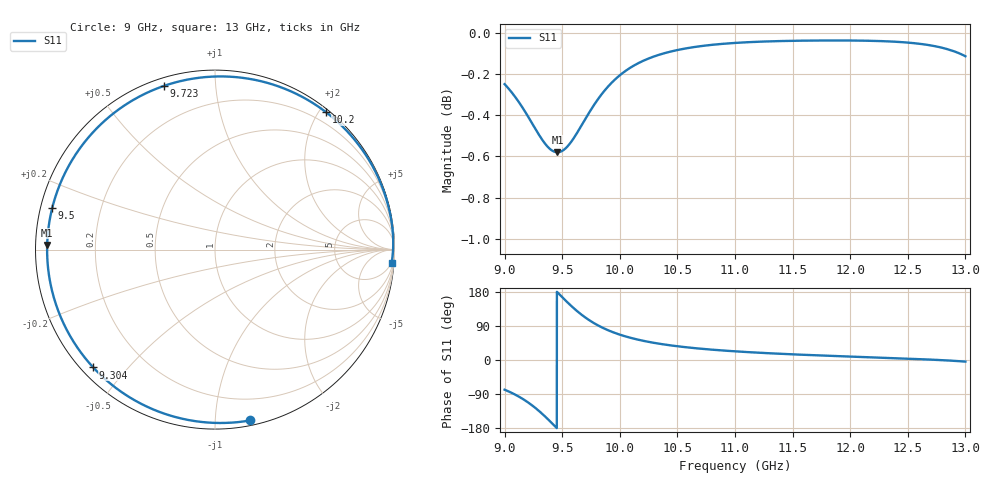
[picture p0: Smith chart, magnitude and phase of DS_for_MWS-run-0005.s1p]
! TOUCHSTONE file generated by CST DESIGN STUDIO
! Date and time: Tue Feb  4 13:16:01 2025
! Project name: C:\Work\MatlabApps\UnitCellOptimizationMatlab\CST\unitcell.cst
! Tree item: Tasks\Sweep1\SPara1\S-Parameters
! Header version: 2024
! Port assignment regex: !\s*Touchstone port\s*([0-9]+)\s*=\s*(CST MWS port|CST DES external port|CST DES block port)\s*(.+)\s* \(\"(.*)\"\)(\s*mode\s*([0-9]+))?.*
! Touchstone port assignment:
! Touchstone port 1 = CST DES external port 1 ("")
# GHz S MA R 50
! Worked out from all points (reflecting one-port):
!   4001 points, 9 GHz to 13 GHz, reference 50 ohm
!   lowest |S11| = -0.6 dB at 9.459 GHz (marker M1), VSWR 29.97, Z = 1.67 + j0.692 ohm
!   phase of S11 starts at -78 deg and turns -286 deg over the sweep
!   S11 on the Smith chart (normalised r, x): 9 GHz: 0.04, -1.23; 9.304 GHz: 0.03, -0.40; 9.5 GHz: 0.03, +0.12; 9.723 GHz: 0.04, +0.73; 10.2 GHz: 0.04, +2.09; 13 GHz: 5, -26
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9  0.9718 -78.4
9.076  0.9661 -88.9
9.173  0.9574 -105.7
9.241  0.9504 -120.3
9.304  0.9441 -135.9
9.344  0.9405 -146.9
9.387  0.9375 -159.5
9.424  0.9359 -170.8
9.459  0.9354 178.4
9.5  0.9361 165.8
9.552  0.9389 150.2
9.613  0.9441 133.2
9.667  0.9495 119.8
9.723  0.9553 107.4
9.786  0.9614 95.5
9.86  0.9677 83.8
9.928  0.9725 74.8
10  0.9766 66.9
10.093  0.9808 58.6
10.197  0.9844 51.1
10.336  0.9878 43.3
10.5  0.9905 36.3
10.722  0.9928 29.3
11  0.9944 22.9
11.5  0.9956 14.9
12  0.9958 9.1
12.5  0.9946 3.6
13  0.987 -4.2
